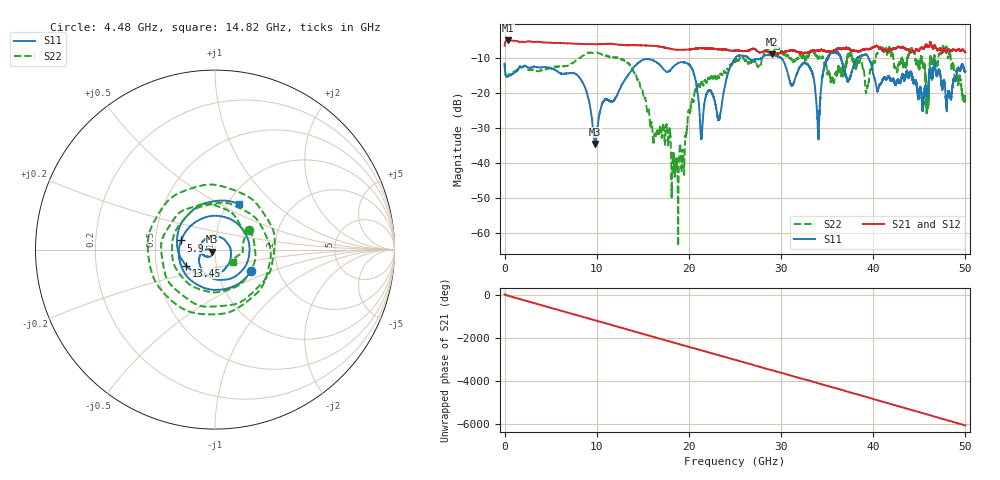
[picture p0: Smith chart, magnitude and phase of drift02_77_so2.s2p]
!Created with skrf (http://scikit-rf.org).
# Hz S RI R 50.0
!freq ReS11 ImS11 ReS21 ImS21 ReS12 ImS12 ReS22 ImS22
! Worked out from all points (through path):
!   10001 points, 300 kHz to 50 GHz, reference 50 ohm
!   highest |S21| = -5.04 dB at 325.3 MHz (marker M1); lowest = -9.0 dB at 29.01 GHz (marker M2)
!   group delay of S21, straight-line fit = 336 ps
!   lowest |S11| = -34.5 dB at 9.845 GHz (marker M3), VSWR 1.04, Z = 48.5 - j1.08 ohm
!   |S11| at or under -10 dB: start of sweep to 25.07 GHz; 29.98 GHz to 35.06 GHz (5.08 GHz wide, 15.6 % of centre); 39.48 GHz to end of sweep (the widest 3 of 8)
!   |S22| runs from -63.6 to -6.5 dB; largest |S21 - S12| = 0.021
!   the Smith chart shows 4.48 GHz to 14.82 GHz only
!   S11 on the Smith chart (normalised r, x): 4.48 GHz: 1.46, -0.36; 5.9 GHz: 0.68, +0.07; 13.45 GHz: 0.71, -0.13; 14.82 GHz: 1.13, +0.62
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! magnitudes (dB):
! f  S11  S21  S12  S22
! 300 kHz  -11.7  -6.5  -6.4  -11.5
! 325.3 MHz  -15.4  -5.0  -5.0  -15.0
! 4.48 GHz  -12.6  -5.6  -5.6  -13.2
! 5.9 GHz  -14.2  -5.7  -5.7  -12.4
! 8.335 GHz  -16.4  -6.0  -6.0  -9.6
! 9.845 GHz  -34.5  -6.1  -6.1  -8.5
! 13.45 GHz  -14.7  -6.4  -6.4  -11.6
! 14.82 GHz  -10.8  -6.4  -6.4  -18.5
! 16.67 GHz  -11.6  -6.7  -6.7  -31.3
! 18.66 GHz  -11.8  -7.7  -7.7  -39.5
! 20.38 GHz  -13.3  -7.5  -7.5  -21.7
! 21.37 GHz  -32.3  -7.2  -7.2  -17.0
! 23.31 GHz  -27.1  -7.6  -7.6  -15.6
! 25 GHz  -10.2  -7.9  -7.9  -11.2
! 29.01 GHz  -9.1  -9.0  -9.0  -8.2
! 33.34 GHz  -14.0  -8.0  -8.1  -8.0
! 34.02 GHz  -31.6  -7.9  -7.9  -10.2
! 35.54 GHz  -8.4  -8.1  -8.1  -15.4
! 41.67 GHz  -15.3  -7.7  -7.8  -7.4
! 45.87 GHz  -20.5  -6.8  -6.9  -23.5
! 47.76 GHz  -17.2  -7.5  -7.5  -7.6
! 50 GHz  -13.9  -8.4  -8.4  -20.3
